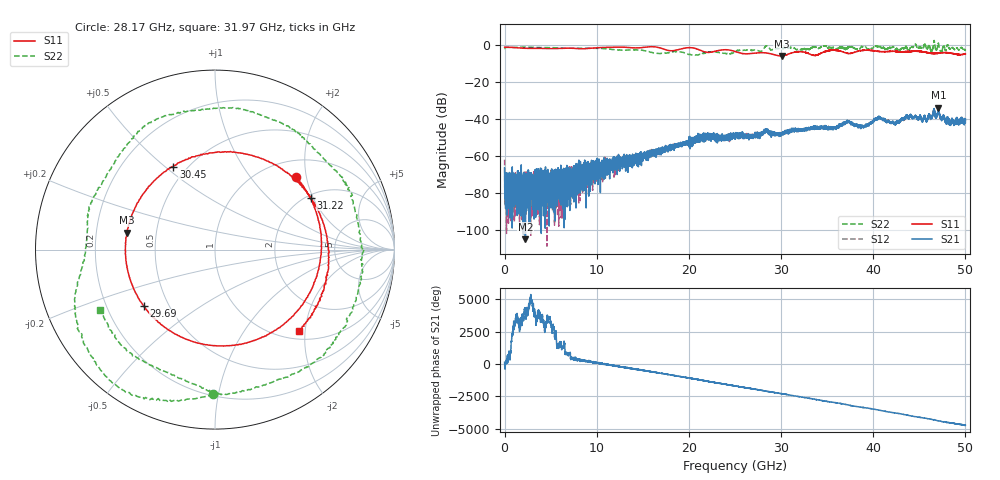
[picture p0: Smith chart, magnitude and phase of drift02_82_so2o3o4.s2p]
!Created with skrf (http://scikit-rf.org).
# Hz S RI R 50.0
!freq ReS11 ImS11 ReS21 ImS21 ReS12 ImS12 ReS22 ImS22
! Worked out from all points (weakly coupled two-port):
!   10001 points, 300 kHz to 50 GHz, reference 50 ohm
!   highest |S21| = -33.91 dB at 47.08 GHz (marker M1); lowest = -104.8 dB at 2.255 GHz (marker M2)
!   lowest |S11| = -6.1 dB at 30.05 GHz (marker M3), VSWR 2.98, Z = 16.9 + j4.25 ohm
!   |S11| at or under -10 dB: nowhere
!   |S22| runs from -5.7 to 2.3 dB; largest |S21 - S12| = 0.0035
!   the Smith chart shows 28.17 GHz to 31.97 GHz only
!   S11 on the Smith chart (normalised r, x): 28.17 GHz: 1.37, +1.75; 29.69 GHz: 0.36, -0.31; 30.45 GHz: 0.42, +0.53; 31.22 GHz: 2.09, +1.92; 31.97 GHz: 1.18, -1.84
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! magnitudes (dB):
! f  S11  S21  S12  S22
! 300 kHz  -1.3  -66.3  -62.0  -2.1
! 265.3 MHz  -1.4  -71.3  -78.2  -1.4
! 2.255 GHz  -1.9  -104.8  -72.6  -1.3
! 6.225 GHz  -1.9  -70.7  -81.6  -1.7
! 8.335 GHz  -2.2  -69.5  -76.1  -1.9
! 16.67 GHz  -1.5  -57.7  -56.9  -4.7
! 21.67 GHz  -3.8  -52.4  -49.9  -4.6
! 25 GHz  -3.7  -48.2  -49.7  -3.9
! 28.17 GHz  -4.3  -46.4  -47.1  -1.9
! 29.69 GHz  -5.9  -48.7  -48.6  -2.1
! 30.05 GHz  -6.1  -48.4  -47.3  -2.0
! 30.45 GHz  -5.7  -46.9  -47.7  -1.8
! 31.22 GHz  -4.3  -45.9  -46.3  -1.7
! 31.97 GHz  -3.8  -46.3  -45.7  -2.8
! 33.34 GHz  -5.5  -45.1  -44.3  -1.5
! 37.26 GHz  -4.7  -41.5  -41.6  -1.5
! 38.88 GHz  -3.1  -44.1  -44.1  -1.3
! 40.66 GHz  -3.7  -38.9  -39.2  -0.8
! 41.67 GHz  -3.7  -40.9  -41.0  -1.9
! 47.08 GHz  -4.5  -33.9  -34.6  0.8
! 48.51 GHz  -4.6  -41.0  -41.3  -1.5
! 50 GHz  -4.9  -40.0  -41.2  -2.7
